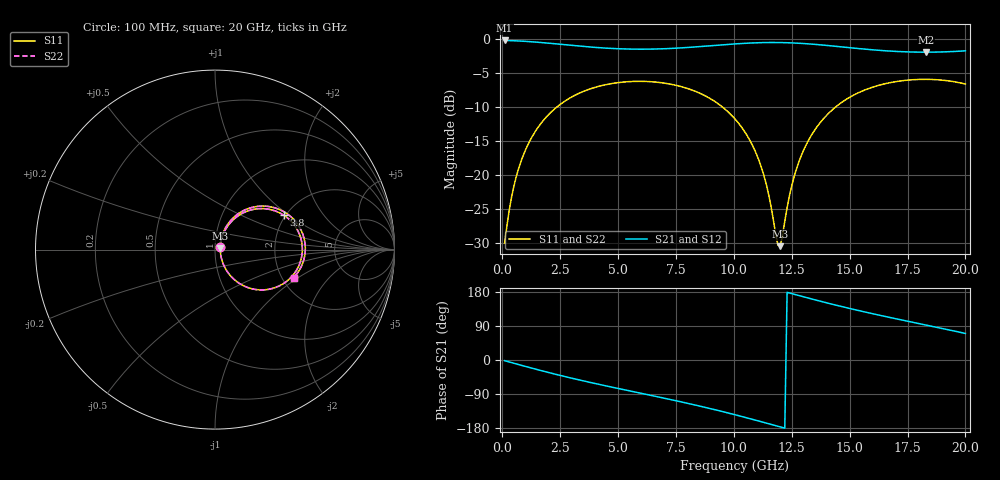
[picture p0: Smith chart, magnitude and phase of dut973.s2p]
! Touchstone file exported from HFSS 2026.1.0
!  File:  C:/ffzhzh/LocalFiles/Ansys_Project_Files/temp_train_TSV_RDL_973_1783286037_38820.aedt
!  Generated:  05:24:42 AM Jul  6, 2026
!  Design:  TSV_RDL
!  Project:  temp_train_TSV_RDL_973_1783286037_38820
! Variables:
!  h_bsmrdl = 4.85um
!  h_ox = 20um
!  h_rdl = 5um
!  h_sub = 90.85um
!  h_tmrdl = 5.25um
!  h_tsv = 90.85um
!  h_via = 3um
!  l_bsmrdl = 882.26um
!  l_sub = 4409.77um
!  l_tmrdl = 324.6um
!  m_sub = 200um
!  pitch = 36.77um
!  r_tsv = 12.93um
!  s_tmrdl = 10um
!  w_bsmrdl = 10.4um
!  w_sub = 500um
!  w_tmrdl = 11.13um
!  x_tsv_center1 = 330.165um
!  x_tsv_center2 = 1222.825um
!  x_tsv_center3 = 1558.555um
!  x_tsv_center4 = 2451.215um
!  x_tsv_center5 = 2786.945um
!  x_tsv_center6 = 3679.605um
# GHz S MA R 50.000000
! Terminal data exported
! Port[1] = TM_RDL1_1_T1
! Port[2] = TM_RDL5_1_T1
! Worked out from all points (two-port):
!   200 points, 100 MHz to 20 GHz, reference 50 ohm
!   highest |S21| = -0.24 dB at 100 MHz (marker M1); lowest = -2.0 dB at 18.3 GHz (marker M2)
!   |S21| within 3 dB of the highest: start of sweep to end of sweep
!   lowest |S11| = -30.5 dB at 12 GHz (marker M3), VSWR 1.06, Z = 53 + j0.681 ohm
!   |S11| at or under -10 dB: start of sweep to 2.37 GHz; 9.495 GHz to 14.41 GHz (4.912 GHz wide, 41.1 % of centre)
!   |S22| runs from -30.5 to -6.0 dB; largest |S21 - S12| = 1.6e-14
!   S11 on the Smith chart (normalised r, x): 100 MHz: 1.06, +0.03; 3.8 GHz: 1.95, +0.92; 20 GHz: 2.31, -0.92
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0.1  0.03134 28.9  0.9729 -1.8  0.9729 -1.8  0.03134 28.9
! Gamma 0 0 0 0
! Port Impedance 50 0 50 0
0.3  0.05476 54.0  0.9709 -5.2  0.9709 -5.2  0.05476 54.0
0.5  0.08225 60.7  0.9681 -8.6  0.9681 -8.6  0.08225 60.7
0.8  0.1242 62.4  0.9627 -13.7  0.9627 -13.7  0.1242 62.4
1.2  0.1787 59.8  0.9534 -20.3  0.9534 -20.3  0.1787 59.8
2.2  0.2987 47.7  0.9223 -36.1  0.9223 -36.1  0.2987 47.7
3.5  0.41 30.5  0.8789 -55.1  0.8789 -55.1  0.41 30.5
3.8  0.4283 26.6  0.8703 -59.2  0.8703 -59.2  0.4283 26.6
5.3  0.4818 7.9  0.8422 -79.0  0.8422 -79.0  0.4818 7.9
6.8  0.4769 -10.3  0.8433 -98.3  0.8433 -98.3  0.477 -10.3
8.6  0.3928 -32.9  0.8785 -122.7  0.8785 -122.7  0.3929 -32.9
10.1  0.2513 -52.3  0.9188 -145.2  0.9188 -145.2  0.2513 -52.3
11.1  0.1253 -61.1  0.9368 -161.4  0.9368 -161.4  0.1253 -61.2
11.5  0.07197 -57.1  0.9396 -168.1  0.9396 -168.1  0.07197 -57.2
11.9  0.03036 -13.6  0.9395 -174.8  0.9395 -174.8  0.03031 -13.7
12  0.02976 12.5  0.939 -176.5  0.939 -176.5  0.0297 12.4
12.6  0.09621 63.6  0.932 173.5  0.932 173.5  0.09617 63.6
13.4  0.2015 60.3  0.9135 160.4  0.9135 160.4  0.2014 60.3
14.8  0.3537 43.3  0.8675 138.9  0.8675 138.9  0.3537 43.3
16.7  0.4741 19.6  0.8134 112.7  0.8134 112.7  0.4741 19.6
18.3  0.5033 0.6  0.7975 92.2  0.7975 92.2  0.5033 0.6
20  0.4649 -19.6  0.816 70.0  0.816 70.0  0.4649 -19.6
